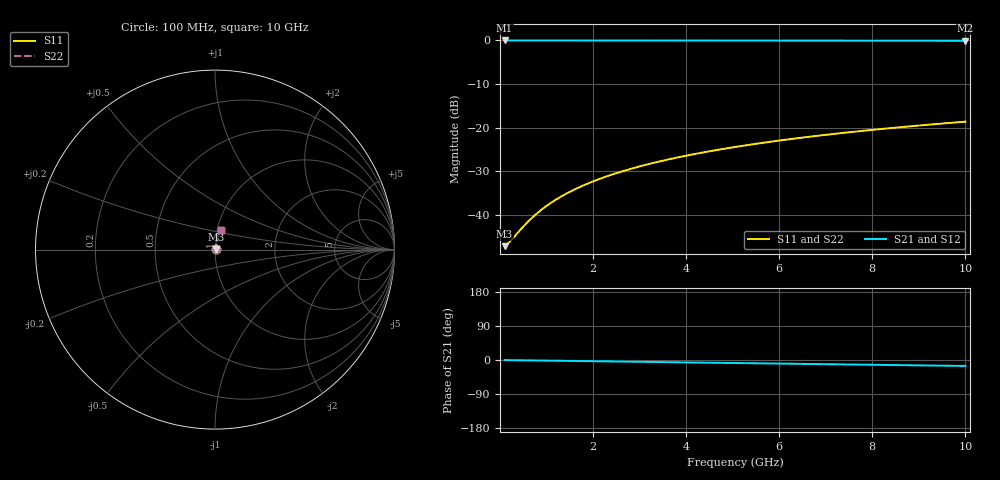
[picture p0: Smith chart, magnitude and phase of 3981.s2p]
# Hz S RI R 50.00
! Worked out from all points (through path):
!   100 points, 100 MHz to 10 GHz, reference 50 ohm
!   highest |S21| = -0.04 dB at 100 MHz (marker M1); lowest = -0.1 dB at 10 GHz (marker M2)
!   group delay of S21, straight-line fit = 4.37 ps
!   lowest |S11| = -47.2 dB at 100 MHz (marker M3), VSWR 1.01, Z = 50.4 + j0.118 ohm
!   |S11| at or under -10 dB: start of sweep to end of sweep
!   |S22| runs from -47.2 to -18.7 dB; largest |S21 - S12| = 0
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1e8  0.0042 0.00117  0.9958 -0.00274  0.9958 -0.00274  0.0042 0.00117
2e8  0.00423 0.00235  0.9958 -0.00548  0.9958 -0.00548  0.00423 0.00235
5e8  0.00435 0.00587  0.9956 -0.0137  0.9956 -0.0137  0.00435 0.00587
6e8  0.0044 0.00704  0.9955 -0.0165  0.9955 -0.0165  0.0044 0.00704
7e8  0.00445 0.00821  0.9955 -0.0192  0.9955 -0.0192  0.00445 0.00821
9e8  0.00457 0.0106  0.9953 -0.0247  0.9953 -0.0247  0.00457 0.0106
1.1e9  0.00472 0.0129  0.9951 -0.0302  0.9951 -0.0302  0.00472 0.0129
1.3e9  0.00489 0.0152  0.9949 -0.0356  0.9949 -0.0356  0.00489 0.0152
1.5e9  0.00508 0.0176  0.9946 -0.0411  0.9946 -0.0411  0.00508 0.0176
1.8e9  0.00542 0.0211  0.9942 -0.0493  0.9942 -0.0493  0.00542 0.0211
2.1e9  0.00581 0.0246  0.9936 -0.0575  0.9936 -0.0575  0.00581 0.0246
2.5e9  0.00643 0.0292  0.9928 -0.0685  0.9928 -0.0685  0.00643 0.0292
2.9e9  0.00714 0.0338  0.9918 -0.0794  0.9918 -0.0794  0.00714 0.0338
3.4e9  0.00817 0.0396  0.9904 -0.093  0.9904 -0.093  0.00817 0.0396
3.8e9  0.00911 0.0442  0.989 -0.1039  0.989 -0.1039  0.00911 0.0442
4.2e9  0.0102 0.0488  0.9876 -0.1147  0.9876 -0.1147  0.0102 0.0488
5.1e9  0.0129 0.0589  0.9839 -0.139  0.9839 -0.139  0.0129 0.0589
5.9e9  0.0157 0.0679  0.9799 -0.1605  0.9799 -0.1605  0.0157 0.0679
6.7e9  0.0189 0.0766  0.9755 -0.1819  0.9755 -0.1819  0.0189 0.0766
7.5e9  0.0225 0.0852  0.9705 -0.203  0.9705 -0.203  0.0225 0.0852
8.4e9  0.0269 0.0947  0.9642 -0.2267  0.9642 -0.2267  0.0269 0.0947
1e10  0.036 0.1109  0.9514 -0.2681  0.9514 -0.2681  0.036 0.1109
